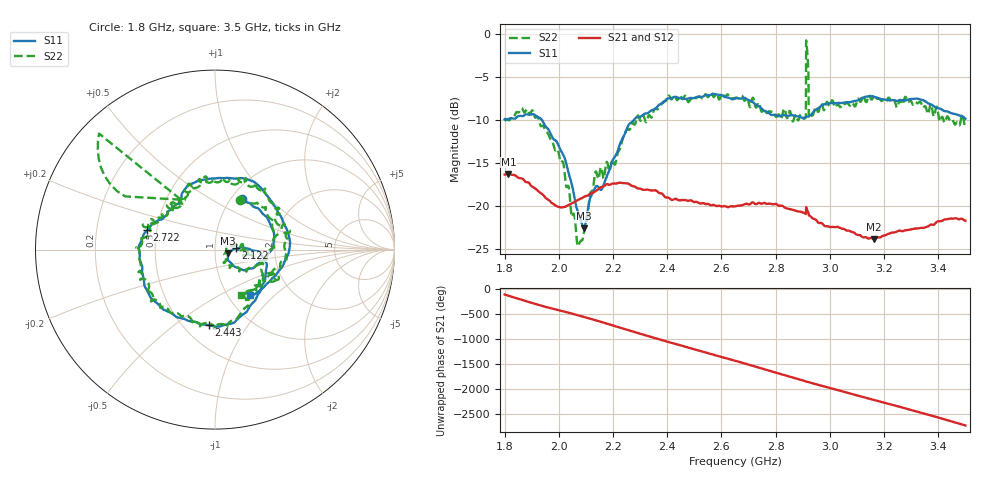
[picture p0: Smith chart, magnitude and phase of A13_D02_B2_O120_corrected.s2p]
! Created with skrf 1.9.0 (http://scikit-rf.org).
# Hz S RI R 50.0
!freq ReS11 ImS11 ReS21 ImS21 ReS12 ImS12 ReS22 ImS22
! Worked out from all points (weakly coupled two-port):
!   1601 points, 1.8 GHz to 3.5 GHz, reference 50 ohm
!   highest |S21| = -16.28 dB at 1.814 GHz (marker M1); lowest = -23.9 dB at 3.163 GHz (marker M2)
!   lowest |S11| = -22.6 dB at 2.092 GHz (marker M3), VSWR 1.16, Z = 57.6 - j2.32 ohm
!   |S11| at or under -10 dB: 1.804435 GHz to 1.809119 GHz (4.684 MHz wide, 0.259 % of centre); 1.937 GHz to 2.277 GHz (340.2 MHz wide, 16.1 % of centre)
!   |S22| runs from -24.7 to -0.8 dB; largest |S21 - S12| = 0.0026
!   S11 on the Smith chart (normalised r, x): 1.8 GHz: 1.12, +0.70; 2.122 GHz: 1.26, +0.02; 2.443 GHz: 0.66, -0.67; 2.722 GHz: 0.44, +0.11; 3.5 GHz: 1.26, -0.72
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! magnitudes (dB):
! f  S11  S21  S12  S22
! 1.8 GHz  -9.9  -16.4  -16.3  -10.1
! 1.814 GHz  -9.9  -16.3  -16.3  -10.0
! 1.9 GHz  -9.4  -17.7  -17.6  -8.9
! 1.953 GHz  -10.8  -19.1  -19.1  -11.3
! 2.02 GHz  -14.3  -20.1  -20.1  -15.7
! 2.07 GHz  -20.6  -19.3  -19.3  -24.7
! 2.084 GHz  -22.0  -19.1  -19.1  -24.0
! 2.092 GHz  -22.6  -18.9  -19.0  -23.2
! 2.122 GHz  -18.7  -18.5  -18.5  -18.3
! 2.162 GHz  -17.8  -17.8  -17.7  -16.5
! 2.259 GHz  -10.5  -17.4  -17.4  -11.2
! 2.367 GHz  -8.3  -18.4  -18.4  -8.7
! 2.443 GHz  -7.5  -19.3  -19.3  -7.3
! 2.65 GHz  -7.5  -20.0  -20.0  -7.4
! 2.722 GHz  -8.1  -19.7  -19.6  -8.1
! 2.903 GHz  -9.8  -20.8  -20.8  -9.8
! 2.912 GHz  -9.7  -20.1  -20.1  -0.8
! 2.921 GHz  -9.6  -20.8  -20.8  -4.7
! 2.934 GHz  -9.3  -21.4  -21.3  -9.5
! 3.163 GHz  -7.3  -23.9  -23.8  -7.2
! 3.217 GHz  -7.7  -23.2  -23.2  -7.4
! 3.5 GHz  -9.9  -21.7  -21.7  -10.7
